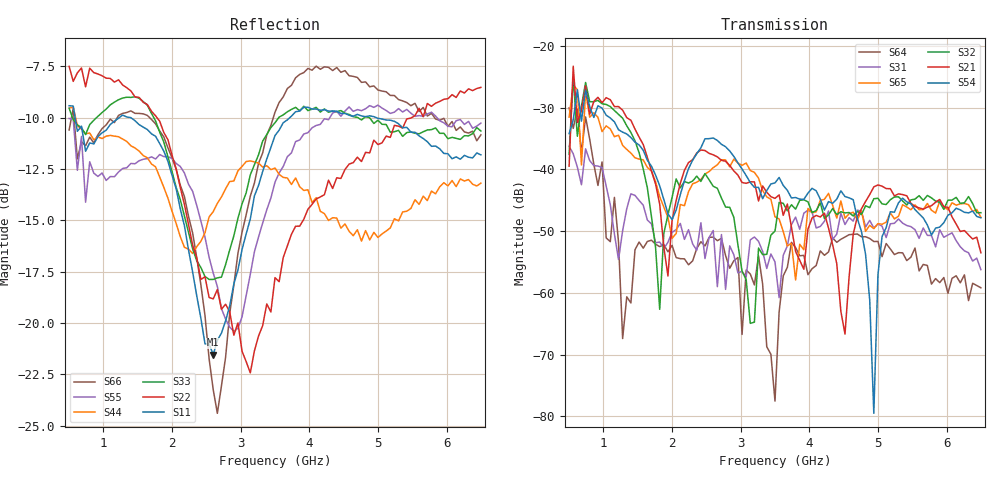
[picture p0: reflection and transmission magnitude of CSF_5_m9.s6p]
!Keysight Technologies,M9804A,MY58100912,A.14.10.03
!Date: Thursday, April 27, 2023 10:28:33
!Correction: S11(C  6-Port  )
!S12(C  6-Port  )
!S13(C  6-Port  )
!S14(C  6-Port  )
!S15(C  6-Port  )
!S16(C  6-Port  )
!S21(C  6-Port  )
!S22(C  6-Port  )
!S23(C  6-Port  )
!S24(C  6-Port  )
!S25(C  6-Port  )
!S26(C  6-Port  )
!S31(C  6-Port  )
!S32(C  6-Port  )
!S33(C  6-Port  )
!S34(C  6-Port  )
!S35(C  6-Port  )
!S36(C  6-Port  )
!S41(C  6-Port  )
!S42(C  6-Port  )
!S43(C  6-Port  )
!S44(C  6-Port  )
!S45(C  6-Port  )
!S46(C  6-Port  )
!S51(C  6-Port  )
!S52(C  6-Port  )
!S53(C  6-Port  )
!S54(C  6-Port  )
!S55(C  6-Port  )
!S56(C  6-Port  )
!S61(C  6-Port  )
!S62(C  6-Port  )
!S63(C  6-Port  )
!S64(C  6-Port  )
!S65(C  6-Port  )
!S66(C  6-Port  )
!S6P File: Measurement: :
# Hz S  RI  R 50
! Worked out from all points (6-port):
!   101 points, 500 MHz to 6.5 GHz, reference 50 ohm
!   strongest paths, dB at 500 MHz, 2 GHz, 3.5 GHz, 5 GHz, 6.5 GHz:
!     S54: -34.2, -48.1, -42.2, -57.1, -47.8
!     S21: -39.5, -48.3, -44.7, -42.5, -53.5
!     S32: -37.5, -44.5, -50.0, -44.7, -47.0
!     S65: -31.5, -51.2, -47.7, -48.8, -47.7
!     S31: -36.2, -50.2, -55.0, -48.8, -56.2
!     S64: -30.0, -52.3, -77.5, -51.7, -59.2
!   lowest |S11| = -21.5 dB at 2.6 GHz (marker M1), VSWR 1.18, Z = 42.5 + j2.1 ohm
!   |S11| at or under -10 dB: 587.5 MHz to 1.231 GHz (643.8 MHz wide, 70.8 % of centre); 1.397 GHz to 3.716 GHz (2.32 GHz wide, 90.7 % of centre); 4.976 GHz to end of sweep
